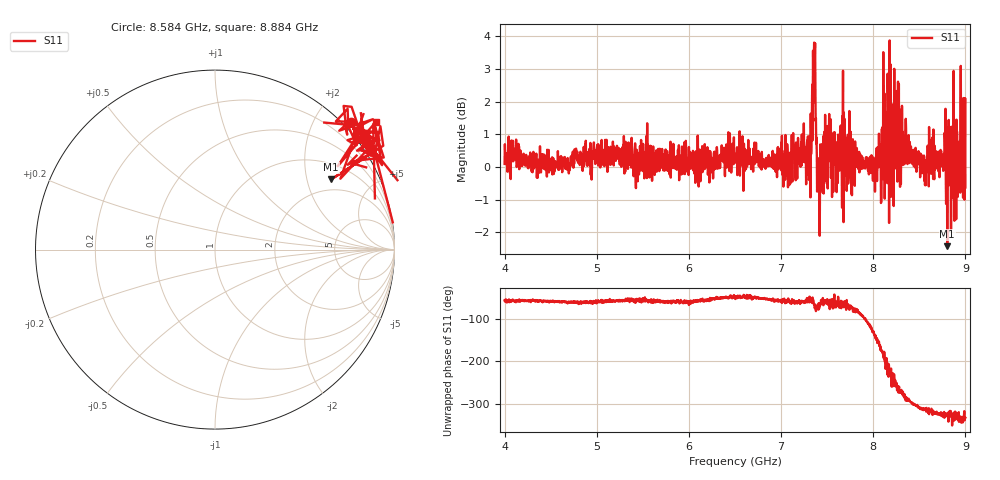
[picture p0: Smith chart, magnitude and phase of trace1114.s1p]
! Created with skrf 1.8.0 (http://scikit-rf.org).
# Hz S RI R 50.0
!freq ReS11 ImS11
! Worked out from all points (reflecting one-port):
!   1601 points, 4 GHz to 9 GHz, reference 50 ohm
!   lowest |S11| = -2.4 dB at 8.803 GHz (marker M1), VSWR 7.20, Z = 77.2 + j141 ohm
!   phase of S11 starts at -57 deg and turns -276 deg over the sweep
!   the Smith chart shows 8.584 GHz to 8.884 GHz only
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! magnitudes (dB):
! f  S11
! 4 GHz  0.1
! 4.625 GHz  -0.2
! 5.25 GHz  0.1
! 5.875 GHz  -0.1
! 6.5 GHz  0.4
! 7.125 GHz  0.6
! 7.294 GHz  0.3
! 7.319 GHz  -0.9
! 7.356 GHz  3.3
! 7.381 GHz  0.7
! 7.397 GHz  0.1
! 7.416 GHz  -1.0
! 7.525 GHz  0.9
! 7.609 GHz  0.4
! 7.662 GHz  -1.3
! 7.75 GHz  0.3
! 8.019 GHz  -0.8
! 8.181 GHz  0.8
! 8.197 GHz  0.6
! 8.253 GHz  1.1
! 8.312 GHz  1.9
! 8.375 GHz  0.5
! 8.556 GHz  -0.4
! 8.631 GHz  0.6
! 8.803 GHz  -2.4
! 8.919 GHz  0.1
! 8.972 GHz  0.6
! 9 GHz  -0.6
